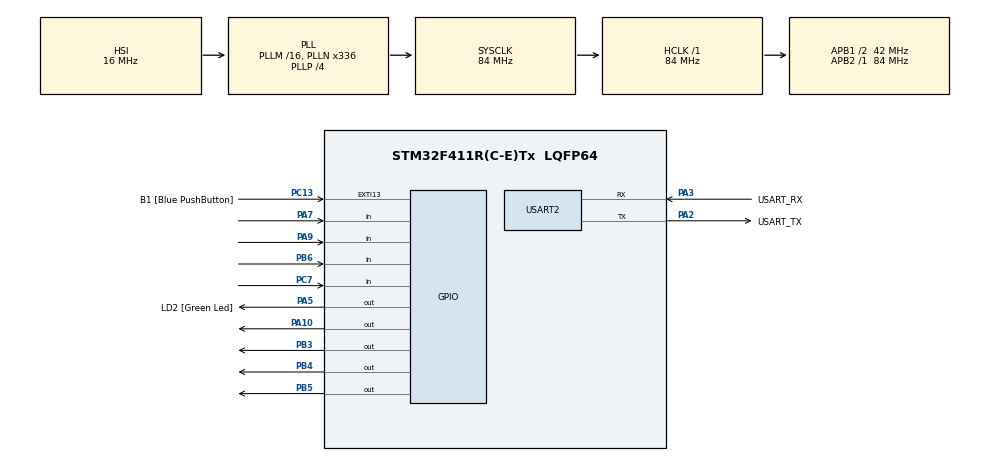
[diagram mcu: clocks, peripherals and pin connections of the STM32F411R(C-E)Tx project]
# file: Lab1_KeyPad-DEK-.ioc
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Mcu.Family=STM32F4
Mcu.Name=STM32F411R(C-E)Tx
Mcu.Package=LQFP64
NVIC.PriorityGroup=NVIC_PRIORITYGROUP_0
PA10.Signal=GPIO_Output
PA13.GPIO_Label=TMS
PA13.Mode=Serial_Wire
PA13.Signal=SYS_JTMS-SWDIO
PA14.GPIO_Label=TCK
PA14.Mode=Serial_Wire
PA14.Signal=SYS_JTCK-SWCLK
PA2.GPIO_Label=USART_TX
PA2.Mode=Asynchronous
PA2.Signal=USART2_TX
PA3.GPIO_Label=USART_RX
PA3.Mode=Asynchronous
PA3.Signal=USART2_RX
PA5.GPIO_Label=LD2 [Green Led]
PA5.Signal=GPIO_Output
PA7.GPIO_PuPd=GPIO_PULLUP
PA7.Signal=GPIO_Input
PA9.GPIO_PuPd=GPIO_PULLUP
PA9.Signal=GPIO_Input
PB3.Signal=GPIO_Output
PB4.Signal=GPIO_Output
PB5.Signal=GPIO_Output
PB6.GPIO_PuPd=GPIO_PULLUP
PB6.Signal=GPIO_Input
PC13-ANTI_TAMP.GPIO_Label=B1 [Blue PushButton]
PC13-ANTI_TAMP.GPIO_ModeDefaultEXTI=GPIO_MODE_IT_FALLING
PC13-ANTI_TAMP.Signal=GPXTI13
PC14-OSC32_IN.Mode=LSE-External-Oscillator
PC14-OSC32_IN.Signal=RCC_OSC32_IN
PC15-OSC32_OUT.Mode=LSE-External-Oscillator
PC15-OSC32_OUT.Signal=RCC_OSC32_OUT
PC7.GPIO_PuPd=GPIO_PULLUP
PC7.Signal=GPIO_Input
PH0\ -\ OSC_IN.Mode=HSE-External-Clock-Source
PH0\ -\ OSC_IN.Signal=RCC_OSC_IN
PH1\ -\ OSC_OUT.Mode=HSE-External-Clock-Source
PH1\ -\ OSC_OUT.Signal=RCC_OSC_OUT
ProjectManager.HeapSize=0x200
ProjectManager.StackSize=0x400
ProjectManager.TargetToolchain=STM32CubeIDE
RCC.48MHZClocksFreq_Value=84000000
RCC.AHBFreq_Value=84000000
RCC.APB1CLKDivider=RCC_HCLK_DIV2
RCC.APB1Freq_Value=42000000
RCC.APB1TimFreq_Value=84000000
RCC.APB2Freq_Value=84000000
RCC.APB2TimFreq_Value=84000000
RCC.CortexFreq_Value=84000000
RCC.FLatency-AdvancedSettings=FLASH_LATENCY_2
RCC.HCLKFreq_Value=84000000
RCC.HSE_VALUE=8000000
RCC.HSI_VALUE=16000000
RCC.PLLN=336
RCC.PLLP=RCC_PLLP_DIV4
RCC.SYSCLKFreq_VALUE=84000000
RCC.SYSCLKSource=RCC_SYSCLKSOURCE_PLLCLK
RCC.VCOOutputFreq_Value=336000000
USART2.VirtualMode=VM_ASYNC
board=NUCLEO-F411RE

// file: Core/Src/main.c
/* USER CODE BEGIN Header */
/**
  ******************************************************************************
  * @file           : main.c
  * @brief          : Main program body
  ******************************************************************************
  * @attention
  *
  * Copyright (c) 2023 STMicroelectronics.
  * All rights reserved.
  *
  * This software is licensed under terms that can be found in the LICENSE file
  * in the root directory of this software component.
  * If no LICENSE file comes with this software, it is provided AS-IS.
  *
  ******************************************************************************
  */
/* USER CODE END Header */
#include "main.h"

/* USER CODE BEGIN PTD */
typedef struct
{
	GPIO_TypeDef* PORT;
	uint16_t PIN;
}PortPin;
////Port ButtonMatrix L,R
PortPin L[4] =
{
	{GPIOA,GPIO_PIN_9},
	{GPIOB,GPIO_PIN_6},
	{GPIOC,GPIO_PIN_7},
	{GPIOA,GPIO_PIN_7},
};
PortPin R[4] =
{
	{GPIOA,GPIO_PIN_10},
	{GPIOB,GPIO_PIN_5},
	{GPIOB,GPIO_PIN_3},
	{GPIOB,GPIO_PIN_4},
};
/////ID Student
uint16_t My_ID[11] = { 512, 2, 1024, 2, 8, 32, 8, 8, 8, 1, 1};
uint16_t ID[11] = {};
uint16_t Position_ID = 0;
uint16_t ck_ID = 0;
////button press information
uint16_t ButtonMatrix = 0;
uint16_t ButtonMatrix_Last = 0;
/////
/* USER CODE END PTD */

UART_HandleTypeDef huart2;

void SystemClock_Config(void);
static void MX_GPIO_Init(void);
static void MX_USART2_UART_Init(void);
/* USER CODE BEGIN PFP */
void ReadMatrixButton_1Row();
void ck_number();
/* USER CODE END PFP */

int main(void)
{

  /* MCU Configuration--------------------------------------------------------*/

  /* Reset of all peripherals, Initializes the Flash interface and the Systick. */
  HAL_Init();

  /* Configure the system clock */
  SystemClock_Config();

  /* Initialize all configured peripherals */
  MX_GPIO_Init();
  MX_USART2_UART_Init();

  /* Infinite loop */
  while (1)
  {
	//Call function every 10 ms = 100Hz
	  static uint32_t timestamp=0;
	  if(HAL_GetTick()>=timestamp)
	  {
		  timestamp =HAL_GetTick() + 10;
		  ReadMatrixButton_1Row();
		  if(ButtonMatrix_Last == 0 && ButtonMatrix == 4096)  //Clear
		  {
			  Position_ID = 0;
			  register int i;
			  for(i=0;i<11;i++) {ID[i] = 0;}
			  HAL_GPIO_WritePin(GPIOA, GPIO_PIN_5, GPIO_PIN_RESET);
		  }
		  else if(ButtonMatrix_Last == 0 && ButtonMatrix == 32768)  //OK
		  {
			  ck_number();
		  }
		  else if(ButtonMatrix_Last == 0 && ButtonMatrix == 8192)  //BS
		  {
			  HAL_GPIO_WritePin(GPIOA, GPIO_PIN_5, GPIO_PIN_RESET);
			  Position_ID--;
			  ID[Position_ID] = 0;
		  }
		  else if(ButtonMatrix_Last == 0 && ButtonMatrix != 0) //Number
		  {
			  ID[Position_ID] = ButtonMatrix;
			  Position_ID++;
		  }
		  ButtonMatrix_Last = ButtonMatrix;
	  }
  }
}

void SystemClock_Config(void)
{
  RCC_OscInitTypeDef RCC_OscInitStruct = {0};
  RCC_ClkInitTypeDef RCC_ClkInitStruct = {0};

  /** Configure the main internal regulator output voltage
  */
  __HAL_RCC_PWR_CLK_ENABLE();
  __HAL_PWR_VOLTAGESCALING_CONFIG(PWR_REGULATOR_VOLTAGE_SCALE1);

  /** Initializes the RCC Oscillators according to the specified parameters
  * in the RCC_OscInitTypeDef structure.
  */
  RCC_OscInitStruct.OscillatorType = RCC_OSCILLATORTYPE_HSI;
  RCC_OscInitStruct.HSIState = RCC_HSI_ON;
  RCC_OscInitStruct.HSICalibrationValue = RCC_HSICALIBRATION_DEFAULT;
  RCC_OscInitStruct.PLL.PLLState = RCC_PLL_ON;
  RCC_OscInitStruct.PLL.PLLSource = RCC_PLLSOURCE_HSI;
  RCC_OscInitStruct.PLL.PLLM = 16;
  RCC_OscInitStruct.PLL.PLLN = 336;
  RCC_OscInitStruct.PLL.PLLP = RCC_PLLP_DIV4;
  RCC_OscInitStruct.PLL.PLLQ = 4;
  if (HAL_RCC_OscConfig(&RCC_OscInitStruct) != HAL_OK)
  {
    Error_Handler();
  }

  /** Initializes the CPU, AHB and APB buses clocks
  */
  RCC_ClkInitStruct.ClockType = RCC_CLOCKTYPE_HCLK|RCC_CLOCKTYPE_SYSCLK
                              |RCC_CLOCKTYPE_PCLK1|RCC_CLOCKTYPE_PCLK2;
  RCC_ClkInitStruct.SYSCLKSource = RCC_SYSCLKSOURCE_PLLCLK;
  RCC_ClkInitStruct.AHBCLKDivider = RCC_SYSCLK_DIV1;
  RCC_ClkInitStruct.APB1CLKDivider = RCC_HCLK_DIV2;
  RCC_ClkInitStruct.APB2CLKDivider = RCC_HCLK_DIV1;

  if (HAL_RCC_ClockConfig(&RCC_ClkInitStruct, FLASH_LATENCY_2) != HAL_OK)
  {
    Error_Handler();
  }
}

static void MX_USART2_UART_Init(void)
{

  huart2.Instance = USART2;
  huart2.Init.BaudRate = 115200;
  huart2.Init.WordLength = UART_WORDLENGTH_8B;
  huart2.Init.StopBits = UART_STOPBITS_1;
  huart2.Init.Parity = UART_PARITY_NONE;
  huart2.Init.Mode = UART_MODE_TX_RX;
  huart2.Init.HwFlowCtl = UART_HWCONTROL_NONE;
  huart2.Init.OverSampling = UART_OVERSAMPLING_16;
  if (HAL_UART_Init(&huart2) != HAL_OK)
  {
    Error_Handler();
  }

}

static void MX_GPIO_Init(void)
{
  GPIO_InitTypeDef GPIO_InitStruct = {0};

  /* GPIO Ports Clock Enable */
  __HAL_RCC_GPIOC_CLK_ENABLE();
  __HAL_RCC_GPIOH_CLK_ENABLE();
  __HAL_RCC_GPIOA_CLK_ENABLE();
  __HAL_RCC_GPIOB_CLK_ENABLE();

  /*Configure GPIO pin Output Level */
  HAL_GPIO_WritePin(GPIOA, LD2_Pin|GPIO_PIN_10, GPIO_PIN_RESET);

  /*Configure GPIO pin Output Level */
  HAL_GPIO_WritePin(GPIOB, GPIO_PIN_3|GPIO_PIN_4|GPIO_PIN_5, GPIO_PIN_RESET);

  /*Configure GPIO pin : B1_Pin */
  GPIO_InitStruct.Pin = B1_Pin;
  GPIO_InitStruct.Mode = GPIO_MODE_IT_FALLING;
  GPIO_InitStruct.Pull = GPIO_NOPULL;
  HAL_GPIO_Init(B1_GPIO_Port, &GPIO_InitStruct);

  /*Configure GPIO pins : LD2_Pin PA10 */
  GPIO_InitStruct.Pin = LD2_Pin|GPIO_PIN_10;
  GPIO_InitStruct.Mode = GPIO_MODE_OUTPUT_PP;
  GPIO_InitStruct.Pull = GPIO_NOPULL;
  GPIO_InitStruct.Speed = GPIO_SPEED_FREQ_LOW;
  HAL_GPIO_Init(GPIOA, &GPIO_InitStruct);

  /*Configure GPIO pins : PA7 PA9 */
  GPIO_InitStruct.Pin = GPIO_PIN_7|GPIO_PIN_9;
  GPIO_InitStruct.Mode = GPIO_MODE_INPUT;
  GPIO_InitStruct.Pull = GPIO_PULLUP;
  HAL_GPIO_Init(GPIOA, &GPIO_InitStruct);

  /*Configure GPIO pin : PC7 */
  GPIO_InitStruct.Pin = GPIO_PIN_7;
  GPIO_InitStruct.Mode = GPIO_MODE_INPUT;
  GPIO_InitStruct.Pull = GPIO_PULLUP;
  HAL_GPIO_Init(GPIOC, &GPIO_InitStruct);

  /*Configure GPIO pins : PB3 PB4 PB5 */
  GPIO_InitStruct.Pin = GPIO_PIN_3|GPIO_PIN_4|GPIO_PIN_5;
  GPIO_InitStruct.Mode = GPIO_MODE_OUTPUT_PP;
  GPIO_InitStruct.Pull = GPIO_NOPULL;
  GPIO_InitStruct.Speed = GPIO_SPEED_FREQ_LOW;
  HAL_GPIO_Init(GPIOB, &GPIO_InitStruct);

  /*Configure GPIO pin : PB6 */
  GPIO_InitStruct.Pin = GPIO_PIN_6;
  GPIO_InitStruct.Mode = GPIO_MODE_INPUT;
  GPIO_InitStruct.Pull = GPIO_PULLUP;
  HAL_GPIO_Init(GPIOB, &GPIO_InitStruct);

}

/* USER CODE BEGIN 4 */
void ReadMatrixButton_1Row()
{
	static uint8_t X = 0;
	//READ L1-L4
	register int i;
	for(i=0;i<4;i++)
	{
		if(HAL_GPIO_ReadPin(L[i].PORT, L[i].PIN))  //true 1
		{
			ButtonMatrix &= ~(1<<(X*4+i));
		}
		else
		{
			ButtonMatrix |= 1<<(X*4+i);
		}
	}
	//SET RX
	HAL_GPIO_WritePin(R[X].PORT, R[X].PIN, 1);
	//RESET RX+1%4
	HAL_GPIO_WritePin(R[(X+1)%4].PORT, R[(X+1)%4].PIN, 0);
	X++;
	X%=4;
}
void ck_number()
{
	register int i;
	ck_ID = 0;
	for(i=0;i<11;i++)
	{
		if(My_ID[i] == ID[i])
		{
			ck_ID++;
		}
	}
	if(ck_ID == 11)
	{
		HAL_GPIO_WritePin(GPIOA, GPIO_PIN_5, GPIO_PIN_SET);
	}
}
/* USER CODE END 4 */

void Error_Handler(void)
{
  __disable_irq();
  while (1)
  {
  }
}
